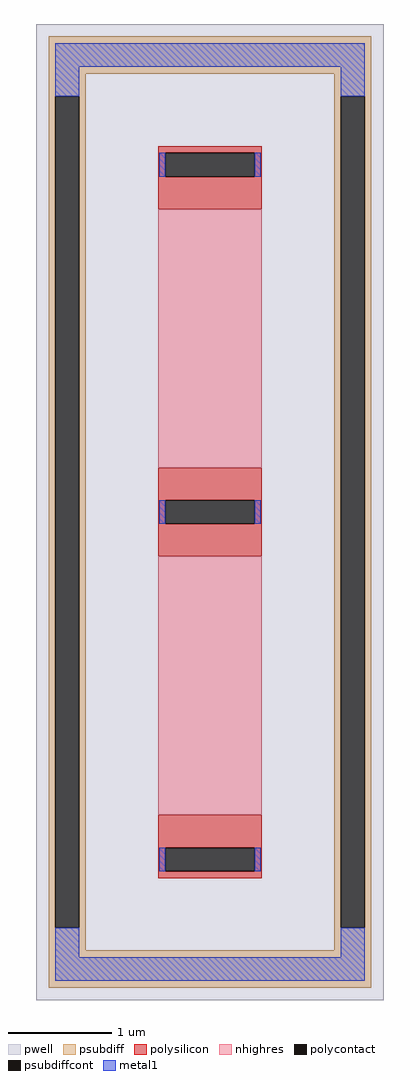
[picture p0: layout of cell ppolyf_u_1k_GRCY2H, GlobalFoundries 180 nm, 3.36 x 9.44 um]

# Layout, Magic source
magic
tech gf180mcuD
magscale 1 10
<< pwell >>
rect -336 -944 336 944
<< psubdiff >>
rect -312 848 312 920
rect -312 804 -240 848
rect -312 -804 -299 804
rect -253 -804 -240 804
rect 240 804 312 848
rect -312 -848 -240 -804
rect 240 -804 253 804
rect 299 -804 312 804
rect 240 -848 312 -804
rect -312 -920 312 -848
<< psubdiffcont >>
rect -299 -804 -253 804
rect 253 -804 299 804
<< polysilicon >>
rect -100 695 100 708
rect -100 649 -87 695
rect 87 649 100 695
rect -100 586 100 649
rect -100 23 100 86
rect -100 -23 -87 23
rect 87 -23 100 23
rect -100 -86 100 -23
rect -100 -649 100 -586
rect -100 -695 -87 -649
rect 87 -695 100 -649
rect -100 -708 100 -695
<< polycontact >>
rect -87 649 87 695
rect -87 -23 87 23
rect -87 -695 87 -649
<< nhighres >>
rect -100 86 100 586
rect -100 -586 100 -86
<< metal1 >>
rect -299 861 299 907
rect -299 804 -253 861
rect 253 804 299 861
rect -98 649 -87 695
rect 87 649 98 695
rect -98 -23 -87 23
rect 87 -23 98 23
rect -98 -695 -87 -649
rect 87 -695 98 -649
rect -299 -861 -253 -804
rect 253 -861 299 -804
rect -299 -907 299 -861
<< properties >>
string FIXED_BBOX -276 -884 276 884
string gencell ppolyf_u_1k
string library gf180mcu
string parameters w 1.0 l 2.5 m 2 nx 1 wmin 1.000 lmin 1.000 class resistor rho 1000 val 2.5k dummy 0 dw 0.0 term 0.0 sterm 0.0 caplen 0.4 snake 1 glc 1 grc 1 gtc 0 gbc 0 roverlap 1 endcov 100 full_metal 1 compatible {ppolyf_u_1k ppolyf_u_1k_6p0}
<< end >>
